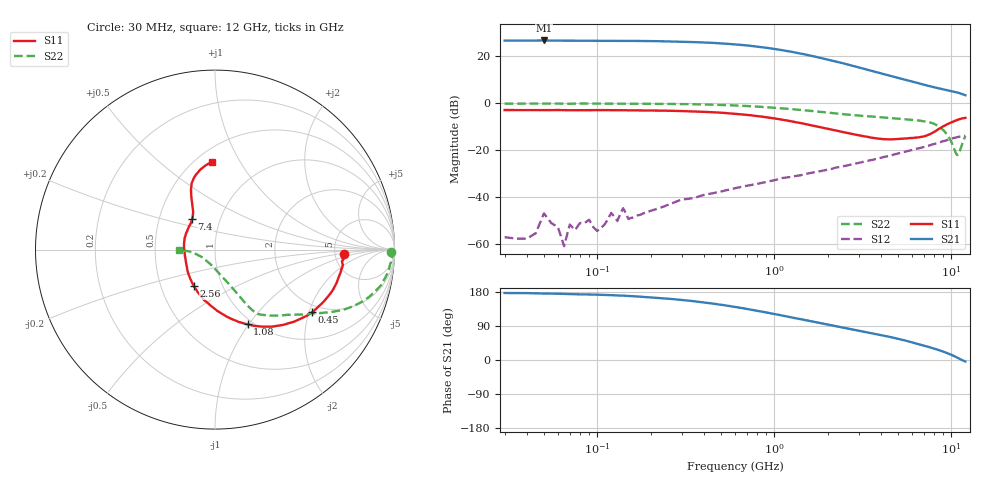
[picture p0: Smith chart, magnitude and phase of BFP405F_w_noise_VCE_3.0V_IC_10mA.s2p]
! Infineon Technologies  Discrete & RF Semiconductors
! BFP405F
! VCE =  3.0 V,  IC =  10 mA
! Common Emitter S-Parameters:  Nov 2015
# GHz  S  MA  R  50
!  f  S11  S21  S12  S22
! GHz  MAG  ANG  MAG  ANG  MAG  ANG  MAG  ANG
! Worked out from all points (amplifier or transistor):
!   239 points, 30 MHz to 12 GHz, reference 50 ohm
!   highest |S21| = 26.8 dB at 50 MHz (marker M1)
!   |S21| within 3 dB of that: start of sweep to 878.8 MHz
!   unconditionally stable (mu >= 1): start of sweep to 35.66 MHz; 2.317 GHz to end of sweep
!   at 300 MHz: K = 0.22, MSG = 33.6 dB, |S12| = -41.0 dB
!   at 1.88 GHz: K = 0.89, MSG = 23.9 dB, |S12| = -28.7 dB
!   at 12 GHz: K = 1.39, MAG = 4.9 dB, |S12| = -13.8 dB
!   lowest NFmin = 1.67 dB at 450 MHz
!   S11 on the Smith chart (normalised r, x): 30 MHz: 6.00, -0.65; 450 MHz: 1.76, -2.10; 1.08 GHz: 0.94, -0.99; 2.56 GHz: 0.73, -0.31; 7.4 GHz: 0.73, +0.26; 12 GHz: 0.60, +0.77
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0.03  0.7171 -2.1  21.64 176.8  0.0014 0.7  0.9818 -0.7
0.045  0.7132 -3.4  21.73 175.9  0.0017 -131.6  0.9839 -1.1
0.05  0.7112 -3.9  21.81 175.4  0.0045 -139.9  0.9843 -1.1
0.065  0.7141 -4.8  21.57 174.4  0.0009 66.5  0.9797 -1.6
0.07  0.7104 -5.2  21.57 173.8  0.0026 6.3  0.976 -2.0
0.085  0.715 -6.4  21.49 173.1  0.0028 113.2  0.9869 -2.4
0.1  0.7167 -7.7  21.4 172.4  0.0019 78.5  0.9831 -3.0
0.14  0.7098 -10.7  21.39 169.9  0.0058 94.1  0.9832 -4.3
0.24  0.6957 -18.3  20.88 162.5  0.0064 70.7  0.9708 -7.6
0.34  0.6719 -25.3  20.21 155.9  0.0094 84.4  0.9539 -10.5
0.45  0.6443 -32.8  19.37 148.8  0.0121 77.9  0.9325 -13.5
0.6  0.5965 -42.3  17.98 140.0  0.0155 75.5  0.898 -17.1
0.82  0.5287 -54.3  15.93 129.0  0.0195 71.4  0.8442 -21.3
1.08  0.4541 -66.5  13.75 118.4  0.0249 69.4  0.7848 -25.3
1.3  0.4009 -75.9  12.16 110.7  0.0279 68.3  0.7405 -27.9
1.64  0.3369 -88.8  10.17 101.6  0.0333 66.4  0.6834 -31.1
2.1  0.2762 -105.5  8.211 91.6  0.0398 65.2  0.6217 -35.4
2.56  0.2342 -120.1  6.791 83.8  0.047 64.6  0.5769 -38.9
4.5  0.1707 -172.6  3.856 60.9  0.0769 59.9  0.4872 -49.1
7.4  0.2122 127.1  2.354 34.7  0.1238 49.0  0.3979 -58.3
10.8  0.4406 102.5  1.697 6.2  0.1901 30.6  0.0785 -127.1
12  0.487 92.0  1.481 -3.9  0.204 23.7  0.1992 -179.3
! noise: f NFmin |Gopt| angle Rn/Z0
0.45  1.67  0.21  5  0.32
0.9  1.68  0.19  9  0.33
1.5  1.74  0.17  15  0.25
1.9  1.78  0.16  21  0.29
2.4  1.91  0.14  28  0.36
3  1.99  0.12  42  0.35
3.5  2.04  0.1  48  0.34
4.5  2.21  0.08  46  0.2
5.5  2.42  0.04  37  0.06
